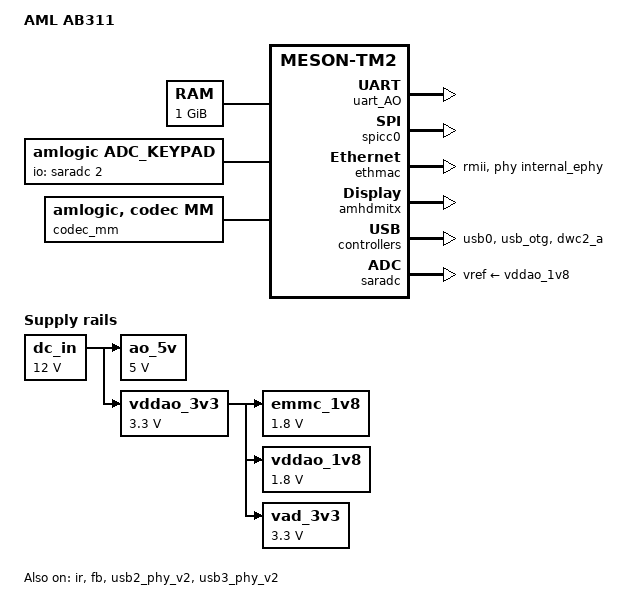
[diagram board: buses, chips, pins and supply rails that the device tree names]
// SPDX-License-Identifier: (GPL-2.0+ OR MIT)
/*
 * Copyright (c) 2019 Amlogic, Inc. All rights reserved.
 */

/dts-v1/;

#include "meson-tm2.dtsi"

/ {
	compatible = "amlogic,tm2";
	model = "AML AB311";

	aliases {
		serial0 = &uart_AO;
		serial1 = &uart_A;
		serial2 = &uart_B;
		serial3 = &uart_C;
		serial4 = &uart_AO_B;
		ethernet0 = &ethmac;
		i2c0 = &i2c0;
		i2c1 = &i2c1;
		i2c2 = &i2c2;
		i2c3 = &i2c3;
		i2c4 = &i2c_AO;
		spi1 = &spicc0;
		spi2 = &spicc1;
	};

	chosen {
		stdout-path = "serial0:115200n8";
	};

	memory@0 {
		device_type = "memory";
		reg = <0x0 0x40000000>;
	};

	adc_keypad {
		compatible = "amlogic, adc_keypad";
		status = "okay";
		key_name = "vol-", "vol+", "enter";
		key_num = <3>;
		io-channels = <&saradc 2>;
		io-channel-names = "key-chan-2";
		key_chan = <2 2 2>;
		key_code = <114 115 28>;
		key_val = <143 266 389>; //val=voltage/1800mV*1023
		key_tolerance = <40 40 40>;
	};

	ao_5v: regulator-ao_5v {
		compatible = "regulator-fixed";
		regulator-name = "AO_5V";
		regulator-min-microvolt = <5000000>;
		regulator-max-microvolt = <5000000>;
		vin-supply = <&dc_in>;
		regulator-always-on;
	};

	dc_in: regulator-dc_in {
		compatible = "regulator-fixed";
		regulator-name = "DC_IN";
		regulator-min-microvolt = <12000000>;
		regulator-max-microvolt = <12000000>;
		regulator-always-on;
	};

	reserved-memory {
		secmon_reserved:linux,secmon {
			compatible = "shared-dma-pool";
			reusable;
			size = <0x400000>;
			alignment = <0x400000>;
			alloc-ranges = <0x05000000 0x400000>;
		};

		/*  POST PROCESS MANAGER */
		ppmgr_reserved:linux,ppmgr {
			compatible = "shared-dma-pool";
			size = <0x0>;
		};

		logo_reserved:linux,meson-fb {
			compatible = "shared-dma-pool";
			reusable;
			size = <0x800000>;
			alignment = <0x400000>;
			alloc-ranges = <0x3f800000 0x800000>;
		};

		ion_cma_reserved:linux,ion-dev {
			compatible = "shared-dma-pool";
			reusable;
			size = <0x8000000>;
			alignment = <0x400000>;
		};

		codec_mm_cma:linux,codec_mm_cma {
			compatible = "shared-dma-pool";
			reusable;
			/* ion_codec_mm max can alloc size 80M*/
			size = <0x13400000>;
			alignment = <0x400000>;
			linux,contiguous-region;
		};

		/* codec shared reserved */
		codec_mm_reserved:linux,codec_mm_reserved {
			compatible = "amlogic, codec-mm-reserved";
			size = <0x0>;
			alignment = <0x100000>;
		};

		/*di CMA pool */
		di_cma_reserved:linux,di_cma {
			compatible = "shared-dma-pool";
			reusable;
			/* buffer_size = 3621952(yuv422 8bit)
			 *  | 4736064(yuv422 10bit)
			 *  | 4074560(yuv422 10bit full pack mode)
			 * 10x3621952=34.6M(0x23) support 8bit
			 * 10x4736064=45.2M(0x2e) support 12bit
			 * 10x4074560=40M(0x28) support 10bit
			 */
			size = <0x02800000>;
			alignment = <0x400000>;
		};
	};

	codec_mm {
		compatible = "amlogic, codec, mm";
		memory-region = <&codec_mm_cma &codec_mm_reserved>;
		dev_name = "codec_mm";
		status = "okay";
	};

	ppmgr {
		compatible = "amlogic, ppmgr";
		memory-region = <&ppmgr_reserved>;
		dev_name = "ppmgr";
		status = "okay";
	};
	amdolby_vision {
		compatible = "amlogic, dolby_vision_tm2";
		dev_name = "aml_amdolby_vision_driver";
		status = "okay";
		tv_mode = <0>;/*1:enabel ;0:disable*/
	};

	emmc_1v8: regulator-emmc_1v8 {
		compatible = "regulator-fixed";
		regulator-name = "EMMC_1V8";
		regulator-min-microvolt = <1800000>;
		regulator-max-microvolt = <1800000>;
		vin-supply = <&vddao_3v3>;
		regulator-always-on;
	};

	vddao_1v8: regulator-vddao_1v8 {
		compatible = "regulator-fixed";
		regulator-name = "VDDAO_1V8";
		regulator-min-microvolt = <1800000>;
		regulator-max-microvolt = <1800000>;
		vin-supply = <&vddao_3v3>;
		regulator-always-on;
	};

	vddao_3v3: regulator-vddao_3v3 {
		compatible = "regulator-fixed";
		regulator-name = "VDDAO_3V3";
		regulator-min-microvolt = <3300000>;
		regulator-max-microvolt = <3300000>;
		vin-supply = <&dc_in>;
		regulator-always-on;
	};

	vad_3v3: regulator-vad_3v3 {
		compatible = "regulator-fixed";
		regulator-name = "VAD_3V3";
		regulator-min-microvolt = <3300000>;
		regulator-max-microvolt = <3300000>;
		vin-supply = <&vddao_3v3>;
		regulator-always-on;
	};

	vout {
		compatible = "amlogic, vout";
		status = "okay";
		fr_auto_policy = <0>;
	};

	picdec {
		compatible = "amlogic, picdec";
		status = "okay";
	};

	deinterlace {
		compatible = "amlogic, deinterlace";
		status = "okay";
		/* 0:use reserved; 1:use cma; 2:use cma as reserved */
		flag_cma = <1>;
		//memory-region = <&di_reserved>;
		memory-region = <&di_cma_reserved>;
		interrupts = <0 46 1
				0 40 1>;
		interrupt-names = "pre_irq", "post_irq";
		clocks = <&clkc CLKID_VPU_CLKB_TMP
			&clkc CLKID_VPU_CLKB
			&clkc CLKID_VPU>;
		clock-names = "vpu_clkb_tmp",
			"vpu_clkb",
			"vpu_mux";
		clock-range = <334 667>;
		/* buffer-size = <3621952>;(yuv422 8bit) */
		buffer-size = <4074560>;/*yuv422 fullpack*/
		/* reserve-iomap = "true"; */
		/* if enable nr10bit, set nr10bit-support to 1 */
		post-wr-support = <1>;
		nr10bit-support = <1>;
		nrds-enable = <1>;
		pps-enable = <1>;
	};
};

/* Exposed via the on-board USB to Serial FT232RL IC */
&uart_AO {
	status = "okay";
};

&ir {
	status = "okay";
	pinctrl-names = "default";
	pinctrl-0 = <&remote_input_ao_pins>;
};

&spicc0 {
	status = "okay";
	pinctrl-names = "default";
	pinctrl-0 = <&spicc0_pins_h>;
	cs-gpios = <&gpio GPIOH_20 0>;
};

&spicc1 {
	status = "disabled";
	pinctrl-names = "default";
	pinctrl-0 = <&spicc1_pins_c>;
	cs-gpios = <&gpio GPIOC_3 0>;
};

&ethmac {
	status = "okay";
	phy-handle = <&internal_ephy>;
	phy-mode = "rmii";
};

&fb {
	status = "okay";
	display_size_default = <1920 1080 1920 2160 32>;
	mem_size = <0x00800000 0x1980000 0x100000 0x100000 0x800000>;
	logo_addr = "0x3f800000";
	mem_alloc = <0>;
	pxp_mode = <0>; /** 0:normal mode 1:pxp mode */
};

&amhdmitx {
	status = "okay";
	repeater_tx = <0x0>;
};

&pcie_A {
	reset-gpio = <&gpio_ao GPIOAO_4 GPIO_ACTIVE_HIGH>;
	status = "disable";
};

&pcie_B {
	/* ab311 only pcie a, no pcie b */
	status = "disable";
};

&usb0 {
	status = "okay";
};

&usb2_phy_v2 {
	status = "okay";
	portnum = <3>;
};

&usb3_phy_v2 {
	status = "okay";
	portnum = <2>;
	portconfig-30 = <1>;
	portconfig-31 = <1>;
};

&usb_otg {
	status = "okay";
	otg = <0>;
};

&dwc2_a {
	status = "okay";
	/** 0: normal, 1: otg+dwc3 host only, 2: otg+dwc3 device only*/
	controller-type = <1>;
};

&saradc {
	status = "okay";
	vref-supply = <&vddao_1v8>;
};
